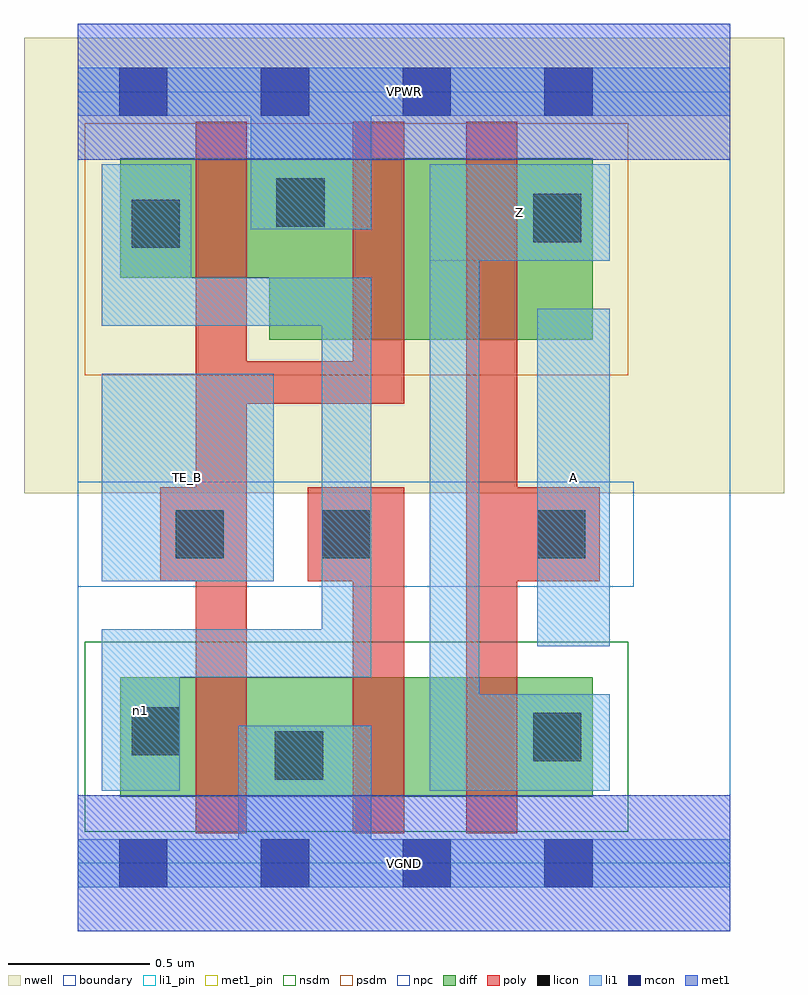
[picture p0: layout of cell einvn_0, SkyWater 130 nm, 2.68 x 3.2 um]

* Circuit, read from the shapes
.subckt einvn_0 A TE_B VGND VPWR Z n1
XM1 VGND TE_B n1 VSUBS sky130_fd_pr__nfet_01v8 w=0.42 l=0.18
XM2 n2 n1 VGND VSUBS sky130_fd_pr__nfet_01v8 w=0.42 l=0.18
XM3 Z A n2 VSUBS sky130_fd_pr__nfet_01v8 w=0.42 l=0.18
XM4 VPWR TE_B n1 n3 sky130_fd_pr__pfet_01v8 w=0.42 l=0.18
XM5 n4 TE_B VPWR n3 sky130_fd_pr__pfet_01v8 w=0.64 l=0.18
XM6 Z A n4 n3 sky130_fd_pr__pfet_01v8 w=0.64 l=0.18
.ends

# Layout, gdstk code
import gdstk
lib = gdstk.Library(unit=1e-6, precision=1e-09)
def R(c, l, rs):  # rectangles x0, y0, x1, y1
    for r in rs: c.add(gdstk.rectangle(r[:2], r[2:], *l))
def A(c, l, x, y, w, h, nx, ny, dx, dy):  # array of equal rectangles
    R(c, l, [(x+i*dx, y+j*dy, x+i*dx+w, y+j*dy+h) for i in range(nx) for j in range(ny)])
nwell = (64, 20)
diff = (65, 20)
poly = (66, 20)
licon = (66, 44)
li1_pin = (67, 16)
li1 = (67, 20)
mcon = (67, 44)
met1_pin = (68, 16)
met1 = (68, 20)
nsdm = (93, 44)
psdm = (94, 20)
npc = (95, 20)
boundary = (235, 4)

einvn_0 = lib.new_cell('einvn_0')
R(einvn_0, nwell, [(-0.19,1.305,2.49,2.91), (0,1.305,2.3,2.91)])
R(einvn_0, diff, [(0.15,0.235,1.815,0.655), (0.675,1.845,1.815,2.485), (0.15,2.065,1.815,2.485)])
R(einvn_0, poly, [(0.415,0.105,0.595,2.615), (0.97,0.105,1.15,1.325), (1.37,0.105,1.55,2.615), (0.29,0.995,0.595,1.325), (0.81,0.995,1.15,1.325), (1.37,0.995,1.84,1.325), (0.415,1.62,1.15,1.77), (0.97,1.62,1.15,2.615)])
R(einvn_0, licon, [(0.695,0.295,0.865,0.465), (1.605,0.36,1.775,0.53), (0.19,0.38,0.36,0.55), (0.345,1.075,0.515,1.245), (0.86,1.075,1.03,1.245), (1.62,1.075,1.79,1.245), (0.19,2.17,0.36,2.34), (1.605,2.19,1.775,2.36), (0.7,2.245,0.87,2.415)])
R(einvn_0, li1_pin, [(1.62,0.765,1.875,1.955), (0.085,0.995,0.69,1.725), (1.24,2.125,1.875,2.465)])
R(einvn_0, li1, [(0,-0.085,2.3,0.085), (0.565,-0.085,1.035,0.485), (0.085,0.255,0.36,0.825), (1.24,0.255,1.415,2.465), (1.24,0.255,1.875,0.595), (0.085,0.655,1.035,0.825), (0.86,0.655,1.035,2.065), (1.62,0.765,1.875,1.955), (0.085,0.995,0.69,1.725), (0.085,1.895,1.035,2.065), (0.085,1.895,0.4,2.465), (1.24,2.125,1.875,2.465), (0.61,2.235,1.035,2.805), (0,2.635,2.3,2.805)])
A(einvn_0, mcon, 0.145, -0.085, 0.17, 0.17, 4, 2, 0.5, 2.72)
R(einvn_0, met1_pin, [(0,-0.24,2.3,0.24), (0,2.48,2.3,2.96)])
R(einvn_0, met1, [(0,-0.24,2.3,0.24), (0,2.48,2.3,2.96)])
R(einvn_0, nsdm, [(0.025,0.11,1.94,0.78)])
R(einvn_0, psdm, [(0.025,1.72,1.94,2.61)])
R(einvn_0, npc, [(0,0.975,1.96,1.345)])
R(einvn_0, boundary, [(0,0,2.3,2.72)])
einvn_0.add(gdstk.Label('A', (1.747,1.36), layer=67, texttype=5))
einvn_0.add(gdstk.Label('TE_B', (0.387,1.36), layer=67, texttype=5))
einvn_0.add(gdstk.Label('Z', (1.557,2.295), layer=67, texttype=5))
einvn_0.add(gdstk.Label('n1', (0.222,0.54), layer=67, texttype=5))
einvn_0.add(gdstk.Label('VPWR', (1.15,2.72), layer=68, texttype=5))
einvn_0.add(gdstk.Label('VGND', (1.15,0), layer=68, texttype=5))
einvn_0.add(gdstk.Label('A', (1.747,1.36), layer=67, texttype=16))
einvn_0.add(gdstk.Label('TE_B', (0.387,1.36), layer=67, texttype=16))
einvn_0.add(gdstk.Label('Z', (1.557,2.295), layer=67, texttype=16))
einvn_0.add(gdstk.Label('VPWR', (1.15,2.72), layer=68, texttype=16))
einvn_0.add(gdstk.Label('VGND', (1.15,0), layer=68, texttype=16))

lib.write_gds('einvn_0.gds')
